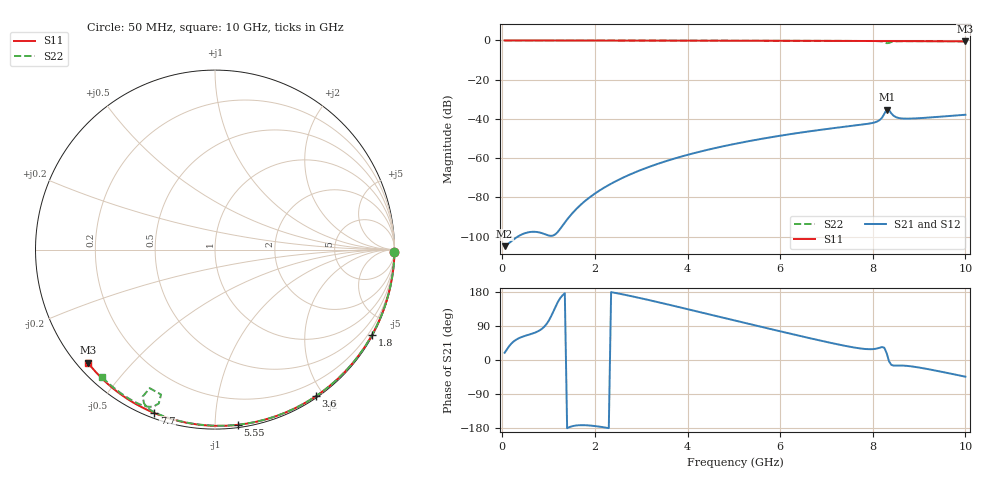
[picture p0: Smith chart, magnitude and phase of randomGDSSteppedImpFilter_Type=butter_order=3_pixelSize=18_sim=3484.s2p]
! freq	dB(S11)	phase(S11)	dB(S12)	phase(S12)
!  dB(S21)	phase(S21)	dB(S22)	phase(S22)
!S-par simulation data
#  GHz  S  DB  R 50
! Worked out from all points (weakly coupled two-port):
!   200 points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, 50 MHz to 10 GHz, reference 50 ohm
!   highest |S21| = -35.22 dB at 8.3 GHz (marker M1); lowest = -104.9 dB at 50 MHz (marker M2)
!   lowest |S11| = -0.5 dB at 10 GHz (marker M3), VSWR 37.26, Z = 1.54 - j19 ohm
!   |S11| at or under -10 dB: nowhere
!   |S22| runs from -1.4 to 0.0 dB; largest |S21 - S12| = 0
!   S11 on the Smith chart (normalised r, x): 50 MHz: open; 1.8 GHz: 0.03, -3.96; 3.6 GHz: 0.02, -1.90; 5.55 GHz: 0.02, -1.14; 7.7 GHz: 0.02, -0.70; 10 GHz: 0.03, -0.38
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0.05  -0.00 -0.8  -104.87 19.0  -104.87 19.0  -0.00 -0.8
0.9  -0.02 -14.3  -98.58 87.1  -98.58 87.1  -0.02 -13.7
1.75  -0.04 -27.6  -82.58 -172.0  -82.58 -172.0  -0.03 -26.3
1.8  -0.04 -28.4  -81.59 -172.2  -81.59 -172.2  -0.03 -27.1
1.9  -0.04 -29.9  -79.74 -173.0  -79.74 -173.0  -0.04 -28.5
2.25  -0.05 -35.3  -74.33 -178.7  -74.33 -178.7  -0.04 -33.7
2.65  -0.05 -41.4  -69.46 172.0  -69.46 172.0  -0.05 -39.5
3.4  -0.07 -52.5  -62.56 151.6  -62.56 151.6  -0.07 -50.1
3.6  -0.07 -55.4  -61.04 145.9  -61.04 145.9  -0.07 -52.9
4.3  -0.09 -65.5  -56.50 125.4  -56.50 125.4  -0.09 -62.6
5.05  -0.12 -75.9  -52.58 103.4  -52.58 103.4  -0.11 -72.6
5.55  -0.14 -82.7  -50.36 88.8  -50.36 88.8  -0.13 -79.1
6.7  -0.19 -97.8  -46.10 55.9  -46.10 55.9  -0.18 -93.7
7.7  -0.25 -110.4  -43.11 31.0  -43.11 31.0  -0.25 -106.3
8.1  -0.28 -115.3  -41.26 30.7  -41.26 30.7  -0.34 -112.4
8.2  -0.29 -116.5  -39.36 34.2  -39.36 34.2  -0.51 -114.8
8.25  -0.29 -117.1  -37.37 32.3  -37.37 32.3  -0.79 -116.2
8.3  -0.30 -117.7  -35.22 18.1  -35.22 18.1  -1.38 -115.2
8.35  -0.30 -118.4  -35.51 -3.2  -35.51 -3.2  -1.29 -110.4
8.45  -0.31 -119.6  -38.38 -14.8  -38.38 -14.8  -0.56 -111.3
8.65  -0.33 -122.0  -39.81 -14.8  -39.81 -14.8  -0.38 -115.1
10  -0.47 -138.3  -37.87 -44.0  -37.87 -44.0  -0.46 -131.8
